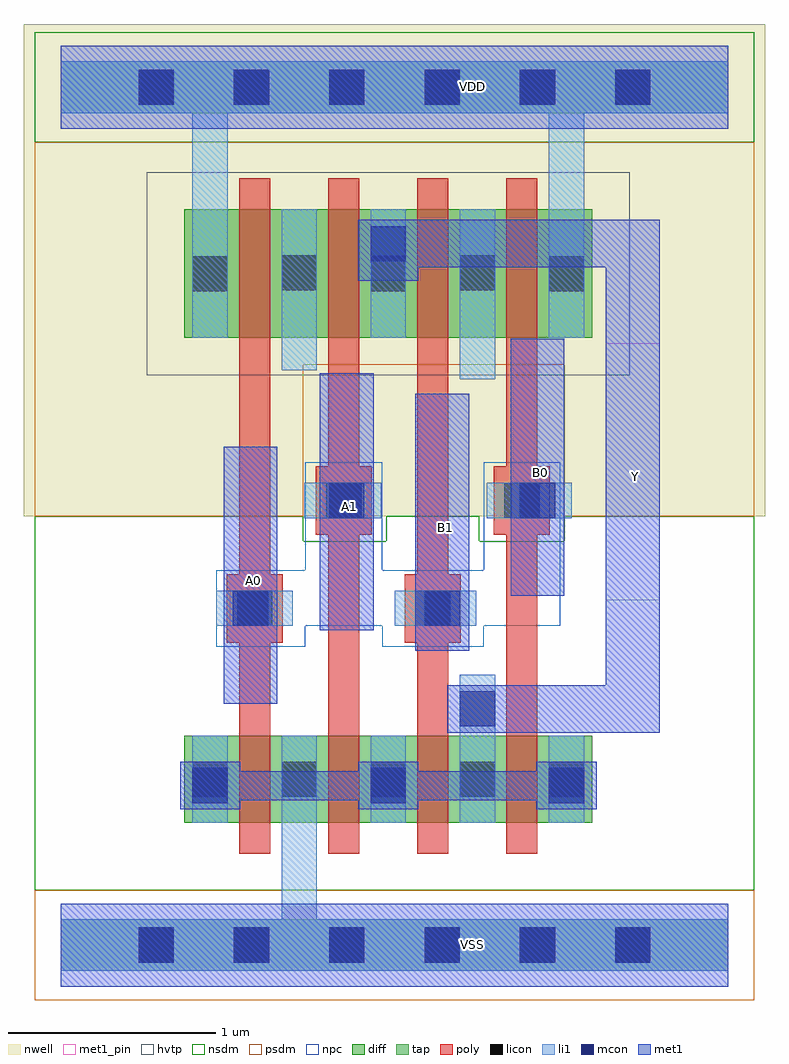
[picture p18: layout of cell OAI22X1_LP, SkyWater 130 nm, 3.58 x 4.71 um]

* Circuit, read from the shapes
.subckt OAI22X1_LP A0 A1 B0 B1 VDD VSS Y
XM1 VSS A0 n1 VSS sky130_fd_pr__nfet_01v8 w=0.42 l=0.15
XM2 n1 A1 VSS VSS sky130_fd_pr__nfet_01v8 w=0.42 l=0.15
XM3 Y B1 n1 VSS sky130_fd_pr__nfet_01v8 w=0.42 l=0.15
XM4 n1 B0 Y VSS sky130_fd_pr__nfet_01v8 w=0.42 l=0.15
XM5 n2 A0 VDD VDD sky130_fd_pr__pfet_01v8_hvt w=0.62 l=0.15
XM6 Y A1 n2 VDD sky130_fd_pr__pfet_01v8_hvt w=0.62 l=0.15
XM7 n3 B1 Y VDD sky130_fd_pr__pfet_01v8_hvt w=0.62 l=0.15
XM8 VDD B0 n3 VDD sky130_fd_pr__pfet_01v8_hvt w=0.62 l=0.15
.ends

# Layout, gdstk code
from math import pi, radians
import gdstk
lib = gdstk.Library(unit=1e-6, precision=1e-09)
def R(c, l, rs):  # rectangles x0, y0, x1, y1
    for r in rs: c.add(gdstk.rectangle(r[:2], r[2:], *l))
def A(c, l, x, y, w, h, nx, ny, dx, dy):  # array of equal rectangles
    R(c, l, [(x+i*dx, y+j*dy, x+i*dx+w, y+j*dy+h) for i in range(nx) for j in range(ny)])
def P(c, l, *ps):  # polygons
    for p in ps: c.add(gdstk.Polygon(p, *l))
nwell = (64, 20)
diff = (65, 20)
tap = (65, 44)
poly = (66, 20)
licon = (66, 44)
li1 = (67, 20)
mcon = (67, 44)
met1_pin = (68, 16)
met1 = (68, 20)
hvtp = (78, 44)
nsdm = (93, 44)
psdm = (94, 20)
npc = (95, 20)

l1m1_c_cdns_795853916194 = lib.new_cell('L1M1_C_CDNS_795853916194')
R(l1m1_c_cdns_795853916194, li1, [(-0.165,-0.085,0.165,0.085)])
R(l1m1_c_cdns_795853916194, mcon, [(-0.085,-0.085,0.085,0.085)])
R(l1m1_c_cdns_795853916194, met1, [(-0.115,-0.145,0.115,0.145)])

pyl1con_c_cdns_795853916 = lib.new_cell('PYL1CON_C_CDNS_795853916195')
R(pyl1con_c_cdns_795853916, poly, [(-0.135,-0.165,0.135,0.165)])
R(pyl1con_c_cdns_795853916, licon, [(-0.085,-0.085,0.085,0.085)])
R(pyl1con_c_cdns_795853916, npc, [(-0.185,-0.185,0.185,0.185)])

licondiff_c_cdns_7958539 = lib.new_cell('LICONDIFF_C_CDNS_795853916196')
R(licondiff_c_cdns_7958539, diff, [(-0.125,-0.145,0.125,0.145)])
R(licondiff_c_cdns_7958539, licon, [(-0.085,-0.085,0.085,0.085), (-0.085,-0.085,0.085,0.085)])

oai22x1_lp = lib.new_cell('OAI22X1_LP')
R(oai22x1_lp, nwell, [(-0.18,2.07,3.4,4.445)])
R(oai22x1_lp, diff, [(0.595,0.59,2.565,1.01), (0.595,2.93,2.565,3.55)])
A(oai22x1_lp, poly, 0.86, 0.44, 0.15, 3.26, 4, 1, 0.43, 0)
A(oai22x1_lp, licon, 0.375, -0.085, 0.17, 0.17, 6, 2, 0.46, 4.14)
A(oai22x1_lp, licon, 0.635, 0.715, 0.17, 0.17, 5, 1, 0.43, 0)
A(oai22x1_lp, licon, 0.635, 3.155, 0.17, 0.17, 3, 1, 0.86, 0)
A(oai22x1_lp, li1, 1.495, 0.59, 0.17, 0.42, 3, 1, 0.43, 0)
R(oai22x1_lp, li1, [(0.635,0.59,0.805,1.01), (1.08,1.54,1.12,1.71), (1.61,1.54,1.675,1.71), (1.175,2.06,1.215,2.23), (2.055,2.06,2.135,2.23), (1.495,2.93,1.665,3.55)])
P(oai22x1_lp, li1, [(0.635,2.93),(0.635,4.015),(0,4.015),(0,4.265),(3.22,4.265),(3.22,4.015),(2.525,4.015),(2.525,2.93),(2.355,2.93),(2.355,4.015),(0.805,4.015),(0.805,2.93)],
  [(0,-0.125),(0,0.125),(1.065,0.125),(1.065,1.01),(1.235,1.01),(1.235,0.125),(3.22,0.125),(3.22,-0.125)])
A(oai22x1_lp, mcon, 0.375, -0.085, 0.17, 0.17, 6, 2, 0.46, 4.14)
R(oai22x1_lp, met1_pin, [(0.785,1.165,1.045,2.405), (1.71,1.42,1.97,2.66), (1.25,1.52,1.51,2.76), (2.63,1.665,2.89,2.905), (2.17,1.685,2.43,2.925)])
P(oai22x1_lp, met1, [(2.01,1.025),(2.01,1.255),(2.63,1.255),(2.63,3.27),(1.725,3.27),(1.725,3.205),(1.435,3.205),(1.435,3.5),(2.89,3.5),(2.89,1.025)])
R(oai22x1_lp, hvtp, [(0.415,2.75,2.745,3.73)])
R(oai22x1_lp, nsdm, [(-0.125,3.875,3.345,4.405)])
P(oai22x1_lp, nsdm, [(-0.125,0.265),(-0.125,2.07),(1.17,2.07),(1.17,1.95),(1.57,1.95),(1.57,2.07),(2.02,2.07),(2.02,1.95),(2.43,1.95),(2.43,2.07),(3.345,2.07),(3.345,0.265)])
R(oai22x1_lp, psdm, [(-0.125,-0.265,3.345,0.265)])
P(oai22x1_lp, psdm, [(-0.125,2.07),(-0.125,3.875),(3.345,3.875),(3.345,2.07),(2.43,2.07),(2.43,2.8),(1.17,2.8),(1.17,2.07)])
P(oai22x1_lp, npc, [(0.75,1.44),(0.75,1.81),(1.18,1.81),(1.18,2.33),(1.55,2.33),(1.55,1.81),(2.04,1.81),(2.04,2.33),(2.41,2.33),(2.41,1.54),(2.04,1.54),(2.04,1.44),(1.55,1.44),(1.55,1.54),(1.18,1.54),(1.18,1.44)])
oai22x1_lp.add(gdstk.FlexPath([(0,4.14),(3.22,4.14)], 0.4, ends="flush", simple_path=True, layer=68, datatype=20))  # met1
oai22x1_lp.add(gdstk.FlexPath([(0,0),(3.22,0)], 0.4, ends="flush", simple_path=True, layer=68, datatype=20))  # met1
oai22x1_lp.add(gdstk.FlexPath([(1.84,1.42),(1.84,2.66)], 0.26, ends="flush", simple_path=True, layer=68, datatype=20))  # met1
oai22x1_lp.add(gdstk.FlexPath([(1.38,1.52),(1.38,2.76)], 0.26, ends="flush", simple_path=True, layer=68, datatype=20))  # met1
oai22x1_lp.add(gdstk.FlexPath([(2.3,1.685),(2.3,2.925)], 0.26, ends="flush", simple_path=True, layer=68, datatype=20))  # met1
oai22x1_lp.add(gdstk.FlexPath([(0.72,0.77),(2.44,0.77)], 0.14, ends="flush", simple_path=True, layer=68, datatype=20))  # met1
oai22x1_lp.add(gdstk.FlexPath([(0.915,1.165),(0.915,2.405)], 0.26, ends="flush", simple_path=True, layer=68, datatype=20))  # met1
oai22x1_lp.add(gdstk.FlexPath([(1.15,2.775),(1.15,3.55)], 0.17, ends="flush", simple_path=True, layer=67, datatype=20))  # li1
oai22x1_lp.add(gdstk.FlexPath([(2.01,2.73),(2.01,3.55)], 0.17, ends="flush", simple_path=True, layer=67, datatype=20))  # li1
oai22x1_lp.add(gdstk.FlexPath([(0,4.14),(3.22,4.14)], 0.25, ends="flush", simple_path=True, layer=65, datatype=44))  # tap
oai22x1_lp.add(gdstk.FlexPath([(0,0),(3.22,0)], 0.25, ends="flush", simple_path=True, layer=65, datatype=44))  # tap
oai22x1_lp.add(gdstk.FlexPath([(0,4.14),(3.22,4.14)], 0.4, ends="flush", simple_path=True, layer=68, datatype=16))  # met1_pin
oai22x1_lp.add(gdstk.FlexPath([(0,0),(3.22,0)], 0.4, ends="flush", simple_path=True, layer=68, datatype=16))  # met1_pin
oai22x1_lp.add(gdstk.Reference(l1m1_c_cdns_795853916194, (2.3,2.145), x_reflection=True))
oai22x1_lp.add(gdstk.Reference(l1m1_c_cdns_795853916194, (1.84,1.625), x_reflection=True))
oai22x1_lp.add(gdstk.Reference(l1m1_c_cdns_795853916194, (1.38,2.145), x_reflection=True))
oai22x1_lp.add(gdstk.Reference(l1m1_c_cdns_795853916194, (0.915,1.625), x_reflection=True))
oai22x1_lp.add(gdstk.Reference(l1m1_c_cdns_795853916194, (1.58,3.385), rotation=pi/2))
oai22x1_lp.add(gdstk.Reference(l1m1_c_cdns_795853916194, (2.01,1.14), rotation=pi/2))
oai22x1_lp.add(gdstk.Reference(l1m1_c_cdns_795853916194, (2.44,0.77), rotation=pi/2))
oai22x1_lp.add(gdstk.Reference(l1m1_c_cdns_795853916194, (1.58,0.77), rotation=pi/2))
oai22x1_lp.add(gdstk.Reference(l1m1_c_cdns_795853916194, (0.72,0.77), rotation=pi/2))
oai22x1_lp.add(gdstk.Reference(pyl1con_c_cdns_795853916, (2.225,2.145), x_reflection=True))
oai22x1_lp.add(gdstk.Reference(pyl1con_c_cdns_795853916, (1.795,1.625), x_reflection=True))
oai22x1_lp.add(gdstk.Reference(pyl1con_c_cdns_795853916, (1.365,2.145), x_reflection=True))
oai22x1_lp.add(gdstk.Reference(pyl1con_c_cdns_795853916, (0.935,1.625), x_reflection=True))
oai22x1_lp.add(gdstk.Reference(licondiff_c_cdns_7958539, (2.01,3.245)))
oai22x1_lp.add(gdstk.Reference(licondiff_c_cdns_7958539, (1.15,3.245)))
oai22x1_lp.add(gdstk.Label('B1', (1.855,2.015), layer=68, texttype=5))
oai22x1_lp.add(gdstk.Label('A1', (1.395,2.115), layer=68, texttype=5))
oai22x1_lp.add(gdstk.Label('B0', (2.315,2.28), layer=68, texttype=5))
oai22x1_lp.add(gdstk.Label('Y', (2.775,2.26), layer=68, texttype=5))
oai22x1_lp.add(gdstk.Label('VDD', (1.985,4.145), layer=68, texttype=5))
oai22x1_lp.add(gdstk.Label('VDD', (1.985,4.145), layer=68, texttype=5))
oai22x1_lp.add(gdstk.Label('VSS', (1.985,0.005), layer=68, texttype=5))
oai22x1_lp.add(gdstk.Label('A0', (0.93,1.76), layer=68, texttype=5))

lib.write_gds('OAI22X1_LP.gds')
